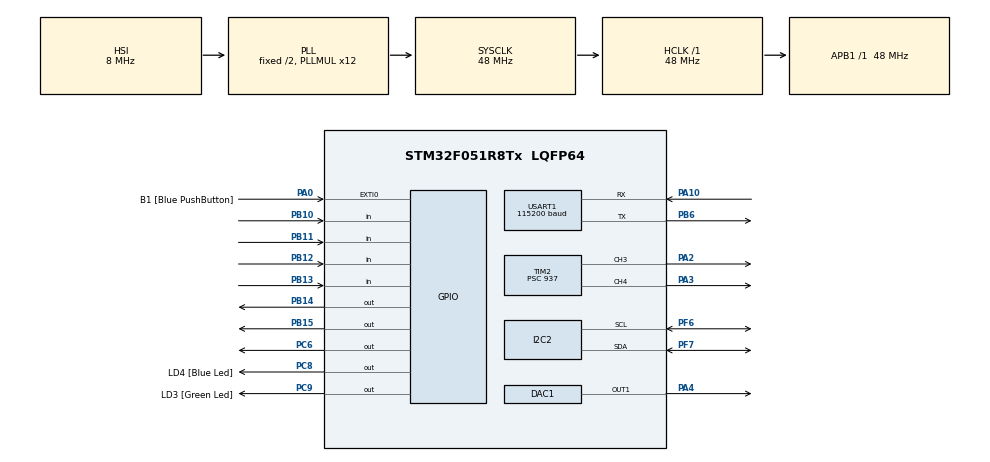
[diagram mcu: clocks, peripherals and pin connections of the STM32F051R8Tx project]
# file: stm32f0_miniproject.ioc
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DAC1.DAC_Trigger=DAC_TRIGGER_NONE
I2C2.Speed=50
I2C2.Timing=0x20303EFD
Mcu.Family=STM32F0
Mcu.Name=STM32F051R8Tx
Mcu.Package=LQFP64
NVIC.I2C2_IRQn=true\:0\:0\:false\:false\:true\:true
NVIC.TIM14_IRQn=true\:0\:0\:false\:false\:true\:true
NVIC.TIM2_IRQn=true\:0\:0\:false\:false\:true\:true
NVIC.TIM3_IRQn=true\:0\:0\:false\:false\:true\:true
NVIC.TIM6_DAC_IRQn=true\:0\:0\:false\:false\:true\:true
NVIC.USART1_IRQn=true\:0\:0\:false\:false\:true\:true
PA0.GPIO_Label=B1 [Blue PushButton]
PA0.GPIO_ModeDefaultEXTI=GPIO_MODE_EVT_RISING
PA0.Signal=GPXTI0
PA10.Mode=Asynchronous
PA10.Signal=USART1_RX
PA13.GPIO_Label=SWDIO
PA13.Signal=SYS_SWDIO
PA14.GPIO_Label=SWCLK
PA14.Signal=SYS_SWCLK
PA2.Signal=S_TIM2_CH3
PA3.Signal=S_TIM2_CH4
PA4.Signal=COMP_DAC11_group
PB10.Signal=GPIO_Input
PB11.Signal=GPIO_Input
PB12.Signal=GPIO_Input
PB13.Signal=GPIO_Input
PB14.Signal=GPIO_Output
PB15.Signal=GPIO_Output
PB6.Mode=Asynchronous
PB6.Signal=USART1_TX
PC6.Signal=GPIO_Output
PC8.GPIO_Label=LD4 [Blue Led]
PC8.Signal=GPIO_Output
PC9.GPIO_Label=LD3 [Green Led]
PC9.Signal=GPIO_Output
PF6.Mode=I2C
PF6.Signal=I2C2_SCL
PF7.Mode=I2C
PF7.Signal=I2C2_SDA
ProjectManager.HeapSize=0x200
ProjectManager.StackSize=0x400
ProjectManager.TargetToolchain=SW4STM32
RCC.AHBFreq_Value=48000000
RCC.APB1Freq_Value=48000000
RCC.APB1TimFreq_Value=48000000
RCC.HCLKFreq_Value=48000000
RCC.PLLMUL=RCC_PLL_MUL12
RCC.SYSCLKFreq_VALUE=48000000
RCC.SYSCLKSource=RCC_SYSCLKSOURCE_PLLCLK
SH.COMP_DAC11_group.0=DAC1_OUT1,DAC_OUT1
SH.S_TIM2_CH3.0=TIM2_CH3,PWM Generation3 CH3
SH.S_TIM2_CH4.0=TIM2_CH4,PWM Generation4 CH4
TIM14.Period=1
TIM14.Prescaler=399
TIM2.Channel-PWM\ Generation3\ CH3=TIM_CHANNEL_3
TIM2.Channel-PWM\ Generation4\ CH4=TIM_CHANNEL_4
TIM2.Period=1024
TIM2.Prescaler=937
TIM3.Period=999
TIM3.Prescaler=47
USART1.BaudRate=115200
USART1.VirtualMode-Asynchronous=VM_ASYNC
VP_TIM14_VS_ClockSourceINT.Mode=Enable_Timer
VP_TIM2_VS_ClockSourceINT.Mode=Internal
VP_TIM3_VS_ClockSourceINT.Mode=Internal
board=STM32F0DISCOVERY

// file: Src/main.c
/**
  ******************************************************************************
  * File Name          : main.c
  * Description        : Main program body
  ******************************************************************************
  ** This notice applies to any and all portions of this file
  * that are not between comment pairs USER CODE BEGIN and
  * USER CODE END. Other portions of this file, whether
  * inserted by the user or by software development tools
  * are owned by their respective copyright owners.
  *
  * COPYRIGHT(c) 2018 STMicroelectronics
  *
  * Redistribution and use in source and binary forms, with or without modification,
  * are permitted provided that the following conditions are met:
  *   1. Redistributions of source code must retain the above copyright notice,
  *      this list of conditions and the following disclaimer.
  *   2. Redistributions in binary form must reproduce the above copyright notice,
  *      this list of conditions and the following disclaimer in the documentation
  *      and/or other materials provided with the distribution.
  *   3. Neither the name of STMicroelectronics nor the names of its contributors
  *      may be used to endorse or promote products derived from this software
  *      without specific prior written permission.
  *
  * THIS SOFTWARE IS PROVIDED BY THE COPYRIGHT HOLDERS AND CONTRIBUTORS "AS IS"
  * AND ANY EXPRESS OR IMPLIED WARRANTIES, INCLUDING, BUT NOT LIMITED TO, THE
  * IMPLIED WARRANTIES OF MERCHANTABILITY AND FITNESS FOR A PARTICULAR PURPOSE ARE
  * DISCLAIMED. IN NO EVENT SHALL THE COPYRIGHT HOLDER OR CONTRIBUTORS BE LIABLE
  * FOR ANY DIRECT, INDIRECT, INCIDENTAL, SPECIAL, EXEMPLARY, OR CONSEQUENTIAL
  * DAMAGES (INCLUDING, BUT NOT LIMITED TO, PROCUREMENT OF SUBSTITUTE GOODS OR
  * SERVICES; LOSS OF USE, DATA, OR PROFITS; OR BUSINESS INTERRUPTION) HOWEVER
  * CAUSED AND ON ANY THEORY OF LIABILITY, WHETHER IN CONTRACT, STRICT LIABILITY,
  * OR TORT (INCLUDING NEGLIGENCE OR OTHERWISE) ARISING IN ANY WAY OUT OF THE USE
  * OF THIS SOFTWARE, EVEN IF ADVISED OF THE POSSIBILITY OF SUCH DAMAGE.
  *
  ******************************************************************************
  */

#include "main.h"
#include "stm32f0xx_hal.h"
#include "dac.h"
#include "i2c.h"
#include "tim.h"
#include "usart.h"
#include "gpio.h"
#include "time.h"

/* USER CODE BEGIN PV */
/* Private variables ---------------------------------------------------------*/
int updateDACEnable = 1;
int updateDAC = 0;
int cycles = 0;
int dacStage = 1;
int waveVal = 0;
uint8_t error = 0;
uint8_t digit = 0;
uint8_t requestAlarm = 0;
uint8_t column = 1;
uint8_t skipAlarmCheck = 0;
//uint32_t state = 0;
typedef enum {
    Startup,
    Wait,
    SetCups,
    SetTime,
    Pump,
    StartBoil,
    SwitchReset,
    WaterReady
} stateName;
stateName state = Startup;
typedef enum {
    StateNotRun,
    StateRun
} stateRunYet;
stateRunYet setCupsRunYet = StateNotRun;
stateRunYet errorRunYet = StateNotRun;
stateRunYet setTimeRunYet = StateNotRun;
stateRunYet pumpRunYet = StateNotRun;
stateRunYet startBoilRunYet = StateNotRun;
stateRunYet switchResetRunYet = StateNotRun;
stateRunYet waterReadyRunYet = StateNotRun;
uint32_t cups = 0;
uint32_t pumpCups = 0;
uint32_t msCount = 1000;
uint32_t secondCount = 10;
uint32_t buttonPress = 1;
uint32_t buttonState0 = 1;

uint32_t count = 0;
/* USER CODE END PV */

void SystemClock_Config(void);

/* USER CODE BEGIN PFP */
/* Private function prototypes -----------------------------------------------*/

/* USER CODE END PFP */

/* USER CODE BEGIN 0 */
void HAL_UART_RxCpltCallback(UART_HandleTypeDef * huart) {
    if (rxData == 0x4B && receivedO) {  // 0x4B == K
        carriageReturn = 1;     // if 'OK' was received, set carriageReturn
    }
    else if (requestingTime && rxData == 0x4C && receivedC){   // 0x4C == L
        // When 'CL' is received, assume the message is ending in 'CLOSED'
        // Which means the time data from server is returned
        requestingTime = 0;     // so reset the flag for waiting for time
        timeReady = 1;          // tell main loop that time can be parsed now
        carriageReturn = 1;
    }
    else if (rxData == 0x26 && requestingAlarm) {   // 0x26 == &
        // slack command is formatted like "&2 2:00PM&"
        // when & is received and requestingAlarm is still set,
        // then I know that alarm data is about to come,
        // so clear any previous data in the buffer
        for (int i = 0; i < 100; i++) {
            buffer[i] = 0;
        }
        buffer_i = 0;
        requestingAlarm = 0;
    }
    else if (rxData == 0x26) {      // 0x26 == &
        // now I know all the alarm data is received, and the main loop
        // can be told to parse it
        carriageReturn = 1;
        alarmTimeReady = 1;
    }
    else if (rxData == 0x5E) {      // 0x5E == ^
        // if slack doesn't have a new alarm to set a '^' is all that is sent
        // so then everything should be cleared, including
        // the buffer and received string
        for (int i = 0; i < 100; i++) {
            buffer[i] = 0;
            received[i] = 0;
        }
        buffer_i = 0;
        carriageReturn = 1;
    }
    else if (rxData == 0x4F) {      // 0x4F == O
        // if an 'O' is received, remember it so that 'OK' can be checked for
        receivedO = 1;
    }
    else if (rxData == 0x43) {      // 0x43 == C
        // if an 'C' is received, remember it so that 'CL' can be checked for
        receivedC = 1;
    }
    else if (rxData != 0x0D && rxData != 0x0A) {    // 0x0D,0x0A == \n,\r
        // if anything else if received, then store it in buffer
        if (receivedO) {
            // but first add back the potentially missing 'O'
            receivedO = 0;
            buffer[buffer_i++] = 0x4F;
        }
        if (receivedC) {
            // and also add back the potentially missing 'C'
            receivedC = 0;
            buffer[buffer_i++] = 0x43;
        }
        // add the latest character to buffer
        buffer[buffer_i++] = rxData;
    }
    HAL_UART_Receive_IT(&huart1, &rxData, 1);   // ask for next character
}

void HAL_UART_TxCpltCallback(UART_HandleTypeDef * huart) {
    // when sending USART data, make sure receive buffer is cleared
    for (int i = 0; i < 100; i++) {
        buffer[i] = 0;
    }
    buffer_i = 0;
}

void HAL_TIM_PeriodElapsedCallback(TIM_HandleTypeDef * htim) {
    if (htim->Instance == TIM3) {   // TIM3 was our general purpose timer
        msCount--;  // TIM3 was configure to fire every 1ms, this counts each
        updateDAC = 1;
        if (msCount <= 0) {
            // keep track of each second
            msCount = 1000;
            secondCount++;
        }
        if (secondCount == 6) {
            // requestAlarm flag tells main loop to check for slack command
            // this triggers 6 seconds after every time check to make sure
            // the time server had enough time to respond
            requestAlarm = 1;
        }
        if (secondCount == 10) {
            // only ten seconds need to be kept track of, so reset secondCount
            secondCount = 0;
            // every ten seconds the current time should be gotten from the time server
            requestTime();
            // ten seconds was also a good time interval for pumping water
            // 1 cup of water was pumped in ten seconds, and the rate was
            // low enough that it didn't splash going into the kettle
            if (state == Pump || state == StartBoil || state == SwitchReset) {
                // water can only be pumping while in the Pump, StartBoil, or SwitchReset states
                if (pumpCups - 1 <= 0) {
                    // occurs when the desired number of cups have been pumped
                    if (state == Pump) {
                        // if it's not currently time to start boiling water
                        // (in that case state would be StartBoil or SwitchReset),
                        // then go to the wait state, until it is time to start boil
                        state = Wait;
                    }
                    // enough water is pumped, so stop PWM to the motor
                    __HAL_TIM_SET_COMPARE(&htim2, TIM_CHANNEL_4, 0);
                }
                else {
                    // occurs when more cups still need to be pumped
                    // but decrement how many still need to pump
                    pumpCups--;
                }
            }
        }
        if (msCount % 5 == 0) {
            // every 5ms, check the switch
            // no need to debounce, because button is held in one state
            // also need to recognize both state changes, not just pressing
            buttonPress = HAL_GPIO_ReadPin(GPIOA, GPIO_PIN_0) & 1;
        }
        if (msCount % 2 == 0) {
            // every 2ms, debounce the matrix
            debounce = 1;
        }
        if(updateDACEnable) {
            cycles++;
        }
    }
    if(htim->Instance == TIM14){
        // TIM14 is used to time the DAC audio output
        updateDAC = 1;
    }
}
/* USER CODE END 0 */

int main(void)
{

  /* MCU Configuration----------------------------------------------------------*/

  /* Reset of all peripherals, Initializes the Flash interface and the Systick. */
  HAL_Init();

  /* Configure the system clock */
  SystemClock_Config();

  /* Initialize all configured peripherals */
  MX_GPIO_Init();
  MX_DAC1_Init();
//  MX_USART1_UART_Init();
  MX_TIM2_Init();
  MX_I2C2_Init();
  MX_TIM3_Init();
  MX_TIM14_Init();
  HAL_Delay(10000); // ten second startup delay added to give the wifi chip to
  // connect to the AP
  MX_USART1_UART_Init();

  /* USER CODE BEGIN 2 */
  HAL_TIM_Base_Start_IT(&htim2);
  HAL_TIM_PWM_Start(&htim2, TIM_CHANNEL_3);
  HAL_TIM_PWM_Start(&htim2, TIM_CHANNEL_4);
  HAL_TIM_Base_Start_IT(&htim3);
  HAL_TIM_Base_Start_IT(&htim14);
  HAL_UART_Receive_IT(&huart1, &rxData, 1);
  /* at startup:
   * load custom characters for kettle
   * turn blinking cursor off
   * set backlight brightness to max
   * set put PWM duty cycle to 0, to make sure the pump isn't running
   */
  i2cDisplaySendCommand(&hi2c2, DISPLAY_LOADCUSTOM, 0x00);
  i2cDisplaySendCommand(&hi2c2, DISPLAY_BLINKOFF, 0x00);
  i2cDisplaySendCommand(&hi2c2, DISPLAY_SETBACKLIGHT, 0x08);
  __HAL_TIM_SET_COMPARE(&htim2, TIM_CHANNEL_4, 0);
  /* USER CODE END 2 */

  /* Infinite loop */
  while (1)
  {

  /* USER CODE BEGIN 3 */
      if (requestAlarm) {
          // happens when it is time to check for a command from slack
          requestAlarm = 0; // reset flag
          if (!skipAlarmCheck) {
              // slack command check will be skipped once, when the finished
              // sound is being played, because HAL_Delay(500) ruins it
              requestingAlarm = 1;  // set other flag, that means alarm data is expected
              // connecting and disconnecting to the server everytime proved problematic
              // this should be revised later though
//              transmitString(&huart1, "AT+CIPSTART=1,\"TCP\",\"http://sdeghuee.pythonanywhere.com\",80\r\n");
//              HAL_Delay(500);
              // send AT command to tell ESP 71 bytes will be send
              transmitString(&huart1, "AT+CIPSEND=1,71\r\n");
              HAL_Delay(500);   // wait for ESP to be ready
              // send GET request to server to get slack command data
              transmitString(&huart1, "GET / HTTP/1.1\r\nHost: sdeghuee.pythonanywhere.com\r\nUser-Agent: test\r\n\r\n");
              // disconnect code, that should also be revised later
//              HAL_Delay(500);
//              transmitString(&huart1, "AT+CIPCLOSE=1\r\n");
          }
          else {
              // now that one slack check was skipped, reset the flag
              skipAlarmCheck = 0;
          }
      }
//      HAL_GPIO_WritePin(GPIOC, GPIO_PIN_8, buttonPress);  // debugging option
      if (debounce) {
          // when debounce flag is set, debounce the next column, like in lab 8
          debounce = 0;
          matrixDebounce(column++);
          if (column > 3) {
              column = 1;
          }
      }
      if (carriageReturn) {
          // carriageReturn flag from USART received data, meaning
          // the buffer should be checked
          carriageReturn = 0;
          // reset 'O' and 'C' flags to be safe
          receivedO = 0;
          receivedC = 0;
          // save the string in buffer into received
          receiveString();
          if (timeReady) {
              // happens when the time data has been received from the server
              timeReady = 0;
              if (received[0] == 0x00 || received[0] == '0') {
                  // occasionally the time server doesn't send back a response,
                  // this checks for that, and request the time again
                  requestTime();
              }
              else {
                  // if the time server gave back a good time:
                  parseTime(received);  // get rid of extraneous data
                  if (state != SetCups && state != SetTime && state != Pump) {
                      // if the SetCups,SetTime, and Pump states, other information is displayed
                      // but otherwise, the current time should be shown on the display
                      i2cDisplaySendCommand(&hi2c2, DISPLAY_CLEARSCREEN, 0x00);
                      i2cDisplayString(&hi2c2, currentTime.str);
                  }
                  if (timeEqual(currentTime, alarm)) {
                      // now that the latest time has been received, the kettle
                      // should check if it's time to start boiling
                      if (alarm.alarmEnabled) {
                          // only start the alarm once, since the time will be
                          // equal 6 times in a minute (new time every 10 seconds)
                          alarm.alarmEnabled = 0;
                          // go to the start for starting the water heating
                          state = StartBoil;
                      }
                  }
              }
          }
          else if (alarmTimeReady) {
              // otherwise, if a slack command is received
              alarmTimeReady = 0;
              // store the received command into the proper variables
              parseAlarm(received);
              if (state == Wait) {
                  state = Pump;
                  // reset the time trackers, so that water pumps for tens seconds
                  msCount = 1000;
                  secondCount = 0;
                  digit = 0;
                  alarm.alarmEnabled = 1;   // enable alarm
              }
              // reset all the first run states
              setCupsRunYet = StateNotRun;
              errorRunYet = StateNotRun;
              setTimeRunYet = StateNotRun;
              pumpRunYet = StateNotRun;
              startBoilRunYet = StateNotRun;
              switchResetRunYet = StateNotRun;
              waterReadyRunYet = StateNotRun;
              for (int i = 0; i < 100; i++) {
                  received[i] = 0;
              }
          }
          else {
              // if time isn't ready and slack command isn't ready, then
              // received data wasn't useful, so clear it
              for (int i = 0; i < 100; i++) {
                  received[i] = 0;
              }
          }
      }
      unsigned char matrixButton = 0;   // stores currently pressed numpad button
      for (uint32_t index = 0; index < 12; index++) {
          // check for button press at every index on numpad
          if (btnPress[index] == 1) {
              // one of the buttons was pressed
              btnPress[index] = 0;
              matrixButton = matrixGetButton(index);
              if (matrixButton == '#') {
                  // '#' is the button for cancel or clearing
                  // can be used as an emergency shutoff for pump
                  __HAL_TIM_SET_COMPARE(&htim2, TIM_CHANNEL_4, 0);
                  if (!error) {
                    // hitting any button while on the error screen, should only
                    // go back to input, including '#'
                    /*
                     * all of these are reseting any inputs, including:
                     * state reset to wait
                     * clear the currently set alarm
                     * reset all the states to not run yet
                     * clear cups
                     * reset digit count for SetTime state
                     * ask for the current time again, and clear screen
                     */
                    state = Wait;
                    alarm.hours = 0;
                    alarm.minutes = 0;
                    alarm.pm = 0;
                    alarm.alarmEnabled = 0;
                    setCupsRunYet = StateNotRun;
                    errorRunYet = StateNotRun;
                    setTimeRunYet = StateNotRun;
                    pumpRunYet = StateNotRun;
                    startBoilRunYet = StateNotRun;
                    switchResetRunYet = StateNotRun;
                    waterReadyRunYet = StateNotRun;
                    cups = 0;
                    pumpCups = 0;
                    digit = 0;
                    requestTime();
                    i2cDisplaySendCommand(&hi2c2, DISPLAY_CLEARSCREEN, 0x00);
                    i2cDisplaySendCommand(&hi2c2, DISPLAY_BLINKOFF, 0x00);
                  }
              }
              if (error) {
                  // pressing any button while on the error screen clears the error
                  error = 0;
              }
          }
      }

      // begin state machine
      switch (state) {
          case Startup:   // startup
              // on start, set the ESP to have multiple connections (one for time, one for slac
              transmitString(&huart1, "AT+CIPMUX=1\r\n");
              // wait for setting to take place
              HAL_Delay(1000);
              // then connect to the server for checking slack commands
              transmitString(&huart1, "AT+CIPSTART=1,\"TCP\",\"http://sdeghuee.pythonanywhere.com\",80\r\n");
              updateDACEnable = 1;  // flag for playing a sound
              dacStage = 1; // song to play, in this case the startup beeps
              servoUp();    // reset the servo to be not pressing the on switch
              state = Wait; // go to the wait state
              break;
          case Wait:   // waiting
              if (matrixButton == '*') {
                  // when '*' is pressed, the kettle will prompt for cups (in the next state)
                  state = SetCups;
              }
              break;
          case SetCups:   // set alarm - cups
              // this state prompts for cups
              if (matrixButton == '*') {
                  // when '*' is pressed, the kettle should go to the next state if the number of cups is valid
                  if (cups > 0 && !error) {
                      // checks that a number was pressed first, and that the error screen isn't showing
                      state = SetTime;  // next state
                      // clear alarm time
                      alarm.hours = 0;
                      alarm.minutes = 0;
                      alarm.pm = 0;
                      // reset digit for inputing time in next state
                      digit = 1;
                  }
              }
              else if (!error) {
                  // if not in the error state
                  if (setCupsRunYet == StateNotRun) {
                      // happens if this is the first time this state is run,
                      // so the prompt should be displayed
                      setCupsRunYet = StateRun; // indicate the next time in this state isn't the first run
                      // clear screen first
                      i2cDisplaySendCommand(&hi2c2, DISPLAY_CLEARSCREEN, 0x00);
                      // show prompt for cups
                      i2cDisplayString(&hi2c2, "How many cups: ");
                      // set the cursor to blink so user knows input is expected
                      i2cDisplaySendCommand(&hi2c2, DISPLAY_BLINKON, 0x00);
                  }
                  else {
                      // otherwise the state has already been run once, so
                      // don't display again, and wait for a button press
                      if (matrixButton != '*' && matrixButton != '#' && matrixButton != 0) {
                          // if a number was pressed
                          if (matrixButton > '0' && matrixButton <= '4') {  // 1 liter kettle
                              // only accept 1-4 as cups, because 5 cups is more that one liter
                              if (cups > 0) {
                                  // if a number was already given for cups, remove it
                                  i2cDisplaySendCommand(&hi2c2, DISPLAY_CURSORRIGHT, 0x00);
                                  i2cDisplaySendCommand(&hi2c2, DISPLAY_BACKSPACE, 0x00);
                              }
                              unsigned char num[2];
                              sprintf(&num, "%c", matrixButton);
                              // display the number of cups
                              i2cDisplayString(&hi2c2, num);
                              // save number of cups
                              cups = atoi(num);
                              pumpCups = cups;
                              // move the cursor to on top of the cups
                              i2cDisplaySendCommand(&hi2c2, DISPLAY_SETCURSOR, 0x0F);
                          }
                          else {
                              // otherwise 0 or 5-9 was selected, so set error
                              error = 1;
                              errorRunYet = StateNotRun;
                              // clear setCups first run flag so the prompt will redisplay after clearing the error
                              setCupsRunYet = StateNotRun;
                              cups = 0;
                          }
                      }
                  }
              }
              else {
                  // otherwise it's in error mode
                  if (errorRunYet == StateNotRun) {
                      // on first time in error mode, the error message should display
                      errorRunYet = StateRun;
                      setCupsRunYet = StateNotRun;
                      i2cDisplaySendCommand(&hi2c2, DISPLAY_CLEARSCREEN, 0x00);
                      i2cDisplayString(&hi2c2, "4 Cups Max.");
                      HAL_Delay(5);
                      i2cDisplaySendCommand(&hi2c2, DISPLAY_SETCURSOR, 0x40);
                      i2cDisplayString(&hi2c2, "1 Cup Min.");
                  }
              }
              break;
          case SetTime:   // set alarm - time
              if (matrixButton == '*') {
                  // pressing '*' moves to the next state after selecting AM/PM
                  if (digit >= 5) {
                      // this is when AM/PM selection is done, so all time data input is done
                      state = Pump; // immediately start pumping after getting all time data
                      // reset time counts, so water pumps for ten seconds
                      msCount = 1000;
                      secondCount = 0;
                      digit = 0;
                      alarm.alarmEnabled = 1;   // enable the alarm
                      if (alarm.pm) {
                          // add 12 hours if PM, so that 24 clock conversion works
                          alarm.hours += 12;
                      }
                      // turn off blinking cursor, because user input is done
                      i2cDisplaySendCommand(&hi2c2, DISPLAY_BLINKOFF, 0x00);
                      // clear scren, then show current time
                      i2cDisplaySendCommand(&hi2c2, DISPLAY_CLEARSCREEN, 0x00);
                      i2cDisplayString(&hi2c2, currentTime.str);
                  }
              }
              if (setTimeRunYet == StateNotRun) {
                  // happens when this is the first time this state is run
                  // so, display the prompt
                  setTimeRunYet = StateRun; // set first run flag
                  // move cursor to second line
                  i2cDisplaySendCommand(&hi2c2, DISPLAY_SETCURSOR, 0x40);
                  // display empty time input
                  i2cDisplayString(&hi2c2, "Time: 00:00 AM");
                  // move cursor to the tens place on hours digit
                  i2cDisplaySendCommand(&hi2c2, DISPLAY_SETCURSOR, 0x46);
                  // blink cursor to indicated expecting user input
                  i2cDisplaySendCommand(&hi2c2, DISPLAY_BLINKON, 0x00);
              }
              else {
                  if (matrixButton != '*' && matrixButton != '#' && matrixButton != 0) {
                      // happens when a number was pressed
                      unsigned char num[2];
                      // store the number that was pressed in a string
                      sprintf(&num, "%c", matrixButton);
                      switch (digit) {
                      // switch handles which digit is receiving input
                      /*
                       * digit == 1 : hours, tens place
                       * digit == 2 : hours, ones place
                       * digit == 3 : minutes, tens place
                       * digit == 4 : minutes, ones place
                       * digit == 5 : AM/PM
                       */
                          case 1:
                              if (matrixButton <= '1') {
                                  // only accept 0 or 1 for hours tens digit
                                  // no error message to reduce annoyance
                                  // then delete the previous number that was shown
                                  i2cDisplaySendCommand(&hi2c2, DISPLAY_CURSORRIGHT, 0x00);
                                  i2cDisplaySendCommand(&hi2c2, DISPLAY_BACKSPACE, 0x00);
                                  // and show the new selection
                                  i2cDisplayString(&hi2c2, num);
                                  // save the number into the alarm time
                                  alarm.hours += 10*atoi(num);
                                  // a valid input moves to the next digit
                                  digit++;
                              }
                              break;
                          case 2:
                              if ((alarm.hours < 10 || matrixButton <= '2') && !(alarm.hours == 0 && matrixButton == '0')) {
                                  // for the hours, ones digit, great than 2 if 0 was in the tens,
                                  // and only accept 0 if 1 was in the tens place
                                  // then delete the previous number that was shown
                                  i2cDisplaySendCommand(&hi2c2, DISPLAY_CURSORRIGHT, 0x00);
                                  i2cDisplaySendCommand(&hi2c2, DISPLAY_BACKSPACE, 0x00);
                                  // and show the new selection
                                  i2cDisplayString(&hi2c2, num);
                                  // move the cursor over the semi-colon
                                  i2cDisplaySendCommand(&hi2c2, DISPLAY_CURSORRIGHT, 0x00);
                                  // save the number into the alarm time
                                  alarm.hours += atoi(num);
                                  // a valid input moves to the next digit
                                  digit++;
                              }
                              break;
                          case 3:
                              if (matrixButton < '6') {
                                  // only accept less than 6 in the minutes,
                                  // ten place, because 3:65 isn't valid
                                  // then delete the previous number that was shown
                                  i2cDisplaySendCommand(&hi2c2, DISPLAY_CURSORRIGHT, 0x00);
                                  i2cDisplaySendCommand(&hi2c2, DISPLAY_BACKSPACE, 0x00);
                                  // and show the new selection
                                  i2cDisplayString(&hi2c2, num);
                                  // save the number into the alarm time
                                  alarm.minutes += 10*atoi(num);
                                  // a valid input moves to the next digit
                                  digit++;
                              }
                              break;
                          case 4:
                              // any number is accept in the minutes ones place
                              // delete the previous number that was shown
                              i2cDisplaySendCommand(&hi2c2, DISPLAY_CURSORRIGHT, 0x00);
                              i2cDisplaySendCommand(&hi2c2, DISPLAY_BACKSPACE, 0x00);
                              // and show the new selection
                              i2cDisplayString(&hi2c2, num);
                              // move the cursor to skip over the space
                              i2cDisplaySendCommand(&hi2c2, DISPLAY_CURSORRIGHT, 0x00);
                              // save the number into the alarm time
                              alarm.minutes += atoi(num);
                              // a valid input moves to the next digit
                              digit++;
                              break;
                          case 5:
                              // digit == 5 is the AM/PM selection
                              if (matrixButton != '*') {
                                  // if a number is pressed, AM/PM should flip
                                  if (alarm.pm) {
                                      // PM was chosen & shown before, so change to AM
                                      alarm.pm = 0;
                                      sprintf(&num, "%c", 'A');
                                  }
                                  else {
                                      // AM was chosen & shown before, so change to PM
                                      alarm.pm = 1;
                                      sprintf(&num, "%c", 'P');
                                  }
                                  // delete the previous A/P
                                  i2cDisplaySendCommand(&hi2c2, DISPLAY_CURSORRIGHT, 0x00);
                                  i2cDisplaySendCommand(&hi2c2, DISPLAY_BACKSPACE, 0x00);
                                  // print the new selection
                                  i2cDisplayString(&hi2c2, num);
                                  // move cursor back to on top of A/P
                                  i2cDisplaySendCommand(&hi2c2, DISPLAY_CURSORLEFT, 0x00);
                              }
                              break;
                          default:
                              break;
                      }
                  }
              }
              break;
          case Pump:   // pump
              if (pumpRunYet == StateNotRun) {
                  // happens if this is the first time the state is entered
                  pumpRunYet = StateRun;    // clear first run flag
                  // clear display, then print how many cups will boil
                  i2cDisplaySendCommand(&hi2c2, DISPLAY_CLEARSCREEN, 0x00);
                  unsigned char message[16];
                  sprintf(&message, "%d cups, start at", cups);
                  i2cDisplayString(&hi2c2, message);
                  HAL_Delay(5);
                  // move to next line
                  i2cDisplaySendCommand(&hi2c2, DISPLAY_SETCURSOR, 0x40);
                  // use function to put alarm time into a string
                  formatTime(&alarm);
                  // print the time
                  i2cDisplayString(&hi2c2, alarm.str);
                  // set PWM duty cycle so pump runs
                  __HAL_TIM_SET_COMPARE(&htim2, TIM_CHANNEL_4, 125);
              }
              break;
          case StartBoil:   // start water
              if (startBoilRunYet == StateNotRun) {
                  // happens if this is the first time the state is entered
                  startBoilRunYet = StateRun;   // clear first run flag
                  // move the servo down so that the switch to boil water is flipped
                  servoDown();
              }
              if (!buttonPress) {
                  // wait until the button is released (meaning the switch is down)
                  // then move to the next state
                  state = SwitchReset;
              }
              break;
          case SwitchReset:   // water started
              if (switchResetRunYet == StateNotRun) {
                  // happens if this is the first time the state is entered
                  switchResetRunYet = StateRun;     // clear first run flag
                  // delay to make sure that servo has had time to go down
                  HAL_Delay(1500);
                  // then move the servo back up, so that the switch can reset
                  servoUp();
                  updateDACEnable = 1;  // tell DAC code that a sound should be played
                  dacStage = 2; // select the water started sound
              }
              if (buttonPress) {
                  // wait until the button is pressed again (meaning the switch has reset, and water is ready)
                  // then go to the next state
                  state = WaterReady;
              }
              break;
          case WaterReady:   // water ready
              if (waterReadyRunYet == StateNotRun) {
                  // happens if this is the first time the state is entered
                  waterReadyRunYet = StateRun;
                  updateDACEnable = 1;  // tell DAC code that a sound should be played
                  dacStage = 3;         // select the water ready sound
                  skipAlarmCheck = 1;   // skip the next slack command check so the sound isn't messed up
                  state = Wait;         // now that water is ready, wait for input
                  // also clear the alarm
                  alarm.hours = 0;
                  alarm.minutes = 0;
                  alarm.pm = 0;
                  alarm.alarmEnabled = 0;
                  // and reset the first run flags for all states
                  setCupsRunYet = StateNotRun;
                  errorRunYet = StateNotRun;
                  setTimeRunYet = StateNotRun;
                  pumpRunYet = StateNotRun;
                  startBoilRunYet = StateNotRun;
                  switchResetRunYet = StateNotRun;
                  waterReadyRunYet = StateNotRun;
                  // reset the cups
                  cups = 0;
                  pumpCups = 0;
                  digit = 0;
              }
              break;
      }

      // end state machine

/* CODE FOR SPEAKER: state machine should control stage variable...
 * dacStage 1 = powerup
 * dacStage 2 = tea start
 * dacStage 3 = tea finish
 */
      if(updateDAC && updateDACEnable){
          updateDAC = 0;
          if(dacStage == 3){
              DoneGetState();
              //FFGetState();
              DoneSetWave();
              DoneCheckWave();
              //FFSetWave();
              //FFCheckWave();
          }
          if(dacStage == 1 || dacStage == 2){
              triGetState(dacStage);
              waveVal = triSetWave(waveVal);
          }
      }
      /*END CODE FOR SPEAKER*/
  }
  /* USER CODE END 3 */

}

/** System Clock Configuration
*/
void SystemClock_Config(void)
{

  RCC_OscInitTypeDef RCC_OscInitStruct;
  RCC_ClkInitTypeDef RCC_ClkInitStruct;
  RCC_PeriphCLKInitTypeDef PeriphClkInit;

    /**Initializes the CPU, AHB and APB busses clocks
    */
  RCC_OscInitStruct.OscillatorType = RCC_OSCILLATORTYPE_HSI;
  RCC_OscInitStruct.HSIState = RCC_HSI_ON;
  RCC_OscInitStruct.HSICalibrationValue = 16;
  RCC_OscInitStruct.PLL.PLLState = RCC_PLL_ON;
  RCC_OscInitStruct.PLL.PLLSource = RCC_PLLSOURCE_HSI;
  RCC_OscInitStruct.PLL.PLLMUL = RCC_PLL_MUL12;
  RCC_OscInitStruct.PLL.PREDIV = RCC_PREDIV_DIV1;
  if (HAL_RCC_OscConfig(&RCC_OscInitStruct) != HAL_OK)
  {
    _Error_Handler(__FILE__, __LINE__);
  }

    /**Initializes the CPU, AHB and APB busses clocks
    */
  RCC_ClkInitStruct.ClockType = RCC_CLOCKTYPE_HCLK|RCC_CLOCKTYPE_SYSCLK
                              |RCC_CLOCKTYPE_PCLK1;
  RCC_ClkInitStruct.SYSCLKSource = RCC_SYSCLKSOURCE_PLLCLK;
  RCC_ClkInitStruct.AHBCLKDivider = RCC_SYSCLK_DIV1;
  RCC_ClkInitStruct.APB1CLKDivider = RCC_HCLK_DIV1;

  if (HAL_RCC_ClockConfig(&RCC_ClkInitStruct, FLASH_LATENCY_1) != HAL_OK)
  {
    _Error_Handler(__FILE__, __LINE__);
  }

  PeriphClkInit.PeriphClockSelection = RCC_PERIPHCLK_USART1;
  PeriphClkInit.Usart1ClockSelection = RCC_USART1CLKSOURCE_PCLK1;
  if (HAL_RCCEx_PeriphCLKConfig(&PeriphClkInit) != HAL_OK)
  {
    _Error_Handler(__FILE__, __LINE__);
  }

    /**Configure the Systick interrupt time
    */
  HAL_SYSTICK_Config(HAL_RCC_GetHCLKFreq()/1000);

    /**Configure the Systick
    */
  HAL_SYSTICK_CLKSourceConfig(SYSTICK_CLKSOURCE_HCLK);

  /* SysTick_IRQn interrupt configuration */
  HAL_NVIC_SetPriority(SysTick_IRQn, 0, 0);
}

void _Error_Handler(char * file, int line)
{
  while(1)
  {
  }
}

/************************ (C) COPYRIGHT STMicroelectronics *****END OF FILE****/
